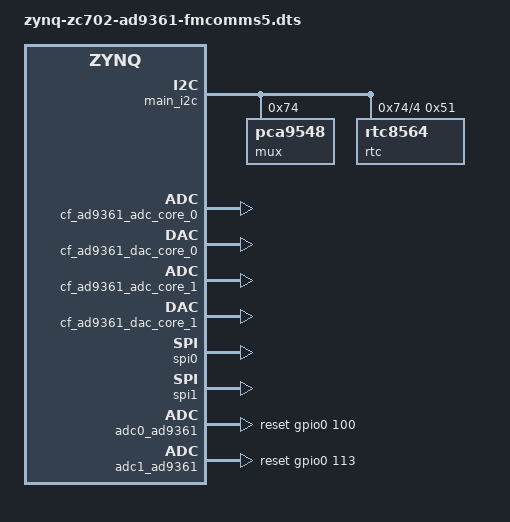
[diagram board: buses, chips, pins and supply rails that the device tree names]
// SPDX-License-Identifier: GPL-2.0
/*
 * Analog Devices AD-FMCOMMS5-EBZ
 * https://wiki.analog.com/resources/eval/user-guides/ad-fmcomms5-ebz
 *
 * hdl_project: <fmcomms5/zc702>
 * board_revision: <>
 *
 * Copyright (C) 2014-2020 Analog Devices Inc.
 */
/dts-v1/;

#include "zynq-zc702.dtsi"

&spi0 {
	status = "okay";
};

&spi1 {
	status = "okay";
};

#define fmc_spi spi0
#define pmod_spi spi1

/ {
  fpga_axi {
    compatible = "simple-bus";
    #address-cells = <0x1>;
    #size-cells = <0x1>;
    ranges;

    main_i2c: i2c@41620000 {
      compatible = "xlnx,axi-iic-1.01.b", "xlnx,xps-iic-2.00.a";
      reg = <0x41620000 0x10000>;
      interrupt-parent = <&intc>;
      interrupts = <0 55 IRQ_TYPE_LEVEL_HIGH>;
      clocks = <&clkc 15>;
      clock-names = "pclk";

      #size-cells = <0>;
      #address-cells = <1>;

      mux@74 {
        compatible = "pca9548";
        reg = <0x74>;
        #address-cells = <1>;
        #size-cells = <0>;

        i2c@4 {
          #size-cells = <0>;
          #address-cells = <1>;
          reg = <4>;
          rtc@51 {
            compatible = "rtc8564";
            reg = <0x51>;
          };
        };

        fmc_i2c: i2c@5 {
          #size-cells = <0>;
          #address-cells = <1>;
          reg = <5>;
        };
      };
    };

    rx_dma: dma@7c400000 {
      compatible = "adi,axi-dmac-1.00.a";
      reg = <0x7c400000 0x1000>;
      #dma-cells = <1>;
      interrupts = <0 57 IRQ_TYPE_LEVEL_HIGH>;
      clocks = <&clkc 16>;

      adi,channels {
        #size-cells = <0>;
        #address-cells = <1>;

        dma-channel@0 {
          reg = <0>;
          adi,source-bus-width = <128>;
          adi,source-bus-type = <2>;
          adi,destination-bus-width = <64>;
          adi,destination-bus-type = <0>;
        };
      };
    };

    tx_dma: dma@7c420000 {
      compatible = "adi,axi-dmac-1.00.a";
      reg = <0x7c420000 0x1000>;
      #dma-cells = <1>;
      interrupts = <0 56 IRQ_TYPE_LEVEL_HIGH>;
      clocks = <&clkc 16>;

      adi,channels {
        #size-cells = <0>;
        #address-cells = <1>;

        dma-channel@0 {
          reg = <0>;
          adi,source-bus-width = <64>;
          adi,source-bus-type = <0>;
          adi,destination-bus-width = <128>;
          adi,destination-bus-type = <2>;
        };
      };
    };

    /* Master HDL core with DMA */
    cf_ad9361_adc_core_0: cf-ad9361-A@79020000 {
      compatible = "adi,axi-ad9361-6.00.a";
      reg = <0x79020000 0x6000>;
      dmas = <&rx_dma 0>;
      dma-names = "rx";
      spibus-connected = <&adc0_ad9361>;
      slavecore-reg = <0x79040000 0x6000>;
    };

    cf_ad9361_dac_core_0: cf-ad9361-dds-core-lpc@79024000 {
      compatible = "adi,axi-ad9361x2-dds-6.00.a";
      reg = <0x79024000 0x1000>;
      clocks = <&adc0_ad9361 13>;
      clock-names = "sampl_clk";
      dmas = <&tx_dma 0>;
      dma-names = "tx";
      slavecore-reg = <0x79044000 0x1000>;
    };

    /* Slave HDL core without DMA */
    cf_ad9361_adc_core_1: cf-ad9361-B@79040000 {
      compatible = "adi,axi-ad9361-6.00.a";
      reg = <0x79040000 0x6000>;
      spibus-connected = <&adc1_ad9361>;
    };

    cf_ad9361_dac_core_1: cf-ad9361-dds-core-B@79044000 {
      compatible = "adi,axi-ad9361x2-dds-6.00.a";
      reg = <0x79044000 0x1000>;
      clocks = <&adc1_ad9361 13>;
      clock-names = "sampl_clk";
      mastercore-reg = <0x79024000 0x1000>;
    };
  };
};

#include "adi-fmcomms5.dtsi"

&adc0_ad9361 {
	reset-gpios = <&gpio0 100 0>;
	sync-gpios = <&gpio0 99 0>;
	cal-sw1-gpios = <&gpio0 107 0>;
	cal-sw2-gpios = <&gpio0 108 0>;
};

&adc1_ad9361 {
	reset-gpios = <&gpio0 113 0>;
};
